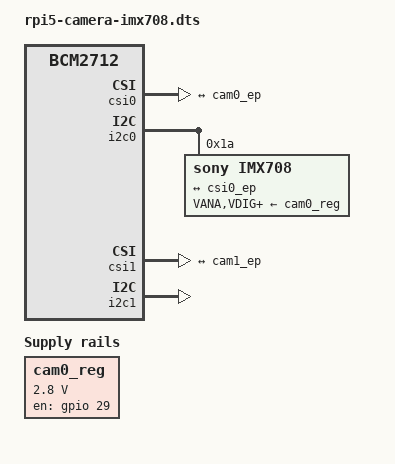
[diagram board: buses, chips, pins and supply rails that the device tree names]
// SPDX-License-Identifier: (GPL-2.0 OR MIT)
/*
 * Device Tree Overlay for Pi Camera Module 3 on Raspberry Pi 5
 * with Android Camera HAL support
 */

/dts-v1/;
/plugin/;

#include <dt-bindings/gpio/gpio.h>

/ {
    compatible = "raspberrypi,5-model-b", "brcm,bcm2712";

    fragment@0 {
        target = <&csi0>;
        __overlay__ {
            status = "okay";
            #address-cells = <1>;
            #size-cells = <0>;

            port {
                csi0_ep: endpoint {
                    remote-endpoint = <&cam0_ep>;
                    clock-lanes = <0>;
                    data-lanes = <1 2>;
                };
            };
        };
    };

    fragment@1 {
        target = <&i2c0>;
        __overlay__ {
            #address-cells = <1>;
            #size-cells = <0>;
            status = "okay";

            /* IMX708 sensor (Pi Camera Module 3) */
            imx708: imx708@1a {
                compatible = "sony,imx708";
                reg = <0x1a>;
                status = "okay";

                clocks = <&cam0_clk>;
                clock-names = "xvclk";

                VANA-supply = <&cam0_reg>;
                VDIG-supply = <&cam0_reg>;
                VDDL-supply = <&cam0_reg>;

                rotation = <180>;
                orientation = <2>;

                port {
                    cam0_ep: endpoint {
                        remote-endpoint = <&csi0_ep>;
                        clock-lanes = <0>;
                        data-lanes = <1 2>;
                        clock-noncontinuous;
                        link-frequencies = /bits/ 64 <450000000>;
                    };
                };
            };
        };
    };

    fragment@2 {
        target-path = "/";
        __overlay__ {
            cam0_reg: cam0-reg {
                compatible = "regulator-fixed";
                regulator-name = "cam0-reg";
                regulator-min-microvolt = <2800000>;
                regulator-max-microvolt = <2800000>;
                gpio = <&gpio 29 GPIO_ACTIVE_HIGH>;
                enable-active-high;
            };

            cam0_clk: cam0-clk {
                compatible = "fixed-clock";
                #clock-cells = <0>;
                clock-frequency = <24000000>;
            };
        };
    };

    /* Second camera port */
    fragment@3 {
        target = <&csi1>;
        __overlay__ {
            status = "okay";
            #address-cells = <1>;
            #size-cells = <0>;

            port {
                csi1_ep: endpoint {
                    remote-endpoint = <&cam1_ep>;
                    clock-lanes = <0>;
                    data-lanes = <1 2>;
                };
            };
        };
    };

    fragment@4 {
        target = <&i2c1>;
        __overlay__ {
            #address-cells = <1>;
            #size-cells = <0>;
            status = "okay";

            /* Secondary camera (optional) */
            imx708_2: imx708@1a {
                compatible = "sony,imx708";
                reg = <0x1a>;
                status = "disabled";

                clocks = <&cam1_clk>;
                clock-names = "xvclk";

                port {
                    cam1_ep: endpoint {
                        remote-endpoint = <&csi1_ep>;
                        clock-lanes = <0>;
                        data-lanes = <1 2>;
                        clock-noncontinuous;
                    };
                };
            };
        };
    };

    fragment@5 {
        target-path = "/";
        __overlay__ {
            cam1_clk: cam1-clk {
                compatible = "fixed-clock";
                #clock-cells = <0>;
                clock-frequency = <24000000>;
            };
        };
    };
};
